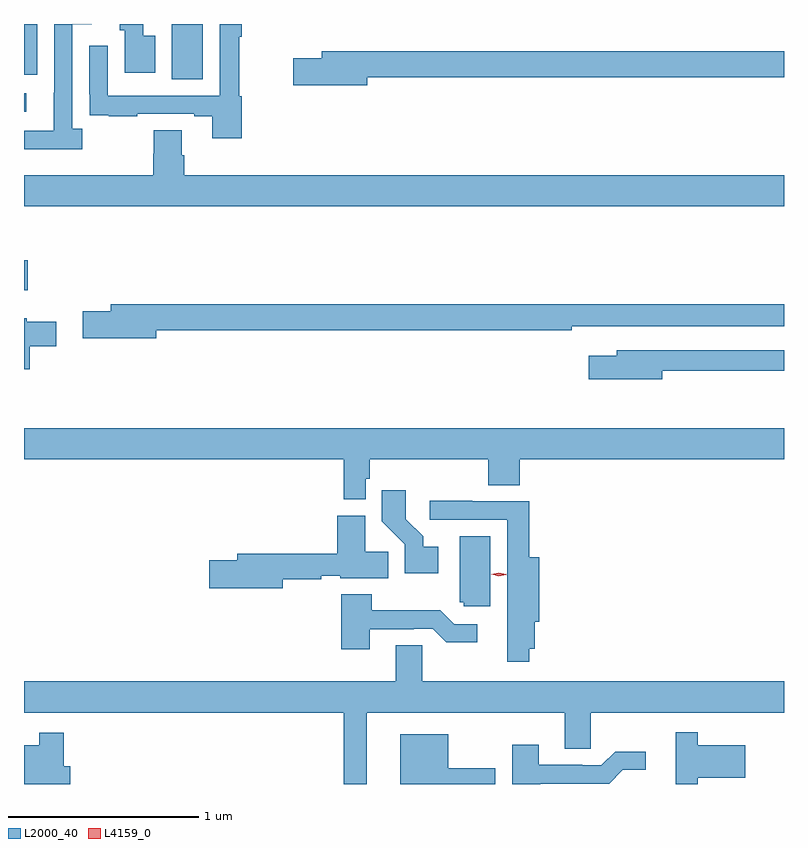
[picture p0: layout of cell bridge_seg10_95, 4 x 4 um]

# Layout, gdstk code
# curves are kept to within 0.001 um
import gdstk
lib = gdstk.Library(unit=1e-6, precision=1e-09)
def R(c, l, rs):  # rectangles x0, y0, x1, y1
    for r in rs: c.add(gdstk.rectangle(r[:2], r[2:], *l))
def P(c, l, *ps):  # polygons
    for p in ps: c.add(gdstk.Polygon(p, *l))
L2000_40 = (2000, 40)
L4159_0 = (4159, 0)

bridge_seg10_95 = lib.new_cell('bridge_seg10_95')
R(bridge_seg10_95, L2000_40, [(515.122,1310.531,515.143,1310.689), (515.122,1311.471,515.134,1311.567), (515.9,1311.64,516.064,1311.932), (515.122,1311.665,515.191,1311.932)])
P(bridge_seg10_95, L2000_40, [(515.428,1311.382),(515.376,1311.382),(515.376,1311.93),(515.479,1311.93),(515.479,1311.932),(515.28,1311.932),(515.28,1311.569),(515.279,1311.569),(515.279,1311.369),(515.122,1311.369),(515.122,1311.272),(515.428,1311.272)],
  [(515.812,1311.871),(515.749,1311.871),(515.749,1311.932),(515.627,1311.932),(515.627,1311.9),(515.651,1311.9),(515.651,1311.675),(515.812,1311.675)],
  [(516.269,1311.552),(516.254,1311.552),(516.254,1311.864),(516.269,1311.864),(516.269,1311.932),(516.153,1311.932),(516.153,1311.555),(515.562,1311.555),(515.562,1311.817),(515.466,1311.817),(515.466,1311.562),(515.467,1311.562),(515.467,1311.453),(515.569,1311.453),(515.569,1311.447),(515.717,1311.447),(515.717,1311.459),(516.017,1311.459),(516.017,1311.447),(516.113,1311.447),(516.113,1311.33),(516.269,1311.33)],
  [(516.928,1311.652),(519.122,1311.652),(519.122,1311.788),(516.689,1311.788),(516.689,1311.752),(516.54,1311.752),(516.54,1311.61),(516.928,1311.61)],
  [(519.122,1311.136),(515.966,1311.136),(515.966,1311.242),(515.953,1311.242),(515.953,1311.374),(515.806,1311.374),(515.806,1311.249),(515.801,1311.249),(515.801,1311.136),(515.122,1311.136),(515.122,1310.972),(519.122,1310.972)],
  [(515.818,1310.32),(518.006,1310.32),(518.006,1310.34),(519.122,1310.34),(519.122,1310.456),(515.579,1310.456),(515.579,1310.42),(515.43,1310.42),(515.43,1310.278),(515.818,1310.278)],
  [(515.153,1310.236),(515.293,1310.236),(515.293,1310.365),(515.136,1310.365),(515.136,1310.383),(515.122,1310.383),(515.122,1310.114),(515.153,1310.114)],
  [(518.482,1310.106),(519.122,1310.106),(519.122,1310.214),(518.243,1310.214),(518.243,1310.185),(518.094,1310.185),(518.094,1310.063),(518.482,1310.063)],
  [(516.921,1309.539),(516.941,1309.539),(516.941,1309.64),(517.565,1309.64),(517.565,1309.504),(517.73,1309.504),(517.73,1309.64),(519.122,1309.64),(519.122,1309.804),(515.122,1309.804),(515.122,1309.64),(516.805,1309.64),(516.805,1309.43),(516.921,1309.43)],
  [(517.303,1309.18),(517.222,1309.18),(517.222,1309.235),(517.132,1309.325),(517.132,1309.477),(517.006,1309.477),(517.006,1309.314),(517.125,1309.195),(517.125,1309.04),(517.303,1309.04)],
  [(517.781,1308.644),(517.811,1308.644),(517.811,1308.786),(517.835,1308.786),(517.835,1309.126),(517.781,1309.126),(517.781,1309.419),(517.481,1309.419),(517.481,1309.422),(517.257,1309.422),(517.257,1309.323),(517.665,1309.323),(517.665,1308.576),(517.781,1308.576)],
  [(516.484,1309.009),(516.686,1309.009),(516.686,1309.029),(516.786,1309.029),(516.786,1309.016),(517.04,1309.016),(517.04,1309.154),(516.919,1309.154),(516.919,1309.345),(516.77,1309.345),(516.77,1309.145),(516.245,1309.145),(516.245,1309.109),(516.096,1309.109),(516.096,1308.962),(516.484,1308.962)],
  [(517.576,1309.237),(517.415,1309.237),(517.415,1308.888),(517.437,1308.888),(517.437,1308.867),(517.576,1308.867)],
  [(516.943,1308.747),(517.172,1308.747),(517.172,1308.75),(517.272,1308.75),(517.345,1308.677),(517.507,1308.677),(517.507,1308.774),(517.386,1308.774),(517.313,1308.847),(516.951,1308.847),(516.951,1308.931),(516.791,1308.931),(516.791,1308.642),(516.943,1308.642)],
  [(516.925,1308.308),(517.967,1308.308),(517.967,1308.118),(518.106,1308.118),(518.106,1308.308),(519.122,1308.308),(519.122,1308.472),(517.218,1308.472),(517.218,1308.662),(517.079,1308.662),(517.079,1308.472),(515.122,1308.472),(515.122,1308.308),(516.804,1308.308),(516.804,1307.932),(516.925,1307.932)],
  [(518.669,1307.966),(518.917,1307.966),(518.917,1308.136),(518.669,1308.136),(518.669,1308.205),(518.552,1308.205),(518.552,1307.982),(518.553,1307.982),(518.553,1307.932),(518.669,1307.932)],
  [(515.365,1308.025),(515.33,1308.025),(515.33,1308.202),(515.202,1308.202),(515.202,1308.136),(515.122,1308.136),(515.122,1307.932),(515.365,1307.932)],
  [(517.603,1308.015),(517.354,1308.015),(517.354,1308.193),(517.103,1308.193),(517.103,1307.932),(517.603,1307.932)],
  [(517.839,1307.934),(518.201,1307.933),(518.274,1308.006),(518.395,1308.006),(518.395,1308.103),(518.233,1308.103),(518.16,1308.03),(518.06,1308.03),(518.06,1308.033),(517.831,1308.033),(517.831,1308.139),(517.691,1308.139),(517.691,1307.932),(517.839,1307.932)])
P(bridge_seg10_95, L4159_0, [(517.62,1309.025),(517.58,1309.035),(517.58,1309.035),(517.58,1309.035),(517.621,1309.045),(517.661,1309.035),(517.661,1309.034),(517.661,1309.034)])

lib.write_gds('bridge_seg10_95.gds')
